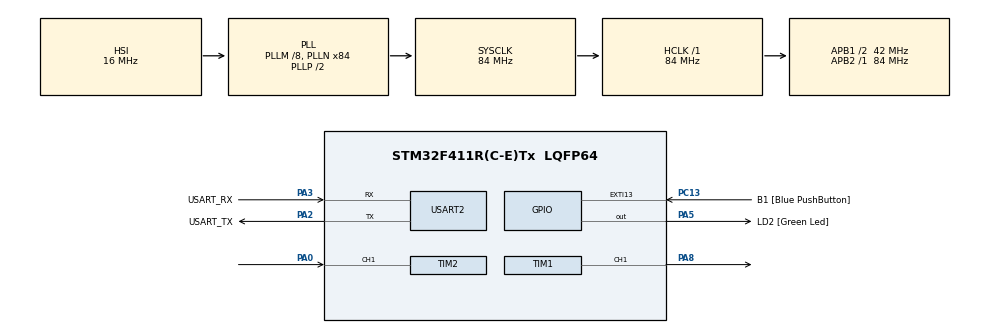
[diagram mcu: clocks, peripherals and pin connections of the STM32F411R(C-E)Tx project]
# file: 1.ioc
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Dma.Request0=TIM2_CH1
Dma.TIM2_CH1.0.Direction=DMA_PERIPH_TO_MEMORY
Dma.TIM2_CH1.0.FIFOMode=DMA_FIFOMODE_DISABLE
Dma.TIM2_CH1.0.Instance=DMA1_Stream5
Dma.TIM2_CH1.0.MemDataAlignment=DMA_MDATAALIGN_WORD
Dma.TIM2_CH1.0.MemInc=DMA_MINC_ENABLE
Dma.TIM2_CH1.0.Mode=DMA_CIRCULAR
Dma.TIM2_CH1.0.PeriphDataAlignment=DMA_PDATAALIGN_WORD
Dma.TIM2_CH1.0.PeriphInc=DMA_PINC_DISABLE
Dma.TIM2_CH1.0.Priority=DMA_PRIORITY_LOW
Mcu.Family=STM32F4
Mcu.Name=STM32F411R(C-E)Tx
Mcu.Package=LQFP64
NVIC.DMA1_Stream5_IRQn=true\:0\:0\:false\:false\:true\:false\:true
NVIC.PriorityGroup=NVIC_PRIORITYGROUP_0
PA0-WKUP.Signal=S_TIM2_CH1_ETR
PA13.GPIO_Label=TMS
PA13.Mode=Serial_Wire
PA13.Signal=SYS_JTMS-SWDIO
PA14.GPIO_Label=TCK
PA14.Mode=Serial_Wire
PA14.Signal=SYS_JTCK-SWCLK
PA2.GPIO_Label=USART_TX
PA2.Mode=Asynchronous
PA2.Signal=USART2_TX
PA3.GPIO_Label=USART_RX
PA3.Mode=Asynchronous
PA3.Signal=USART2_RX
PA5.GPIO_Label=LD2 [Green Led]
PA5.Signal=GPIO_Output
PA8.Signal=S_TIM1_CH1
PB3.GPIO_Label=SWO
PB3.Signal=SYS_JTDO-SWO
PC13-ANTI_TAMP.GPIO_Label=B1 [Blue PushButton]
PC13-ANTI_TAMP.GPIO_ModeDefaultEXTI=GPIO_MODE_IT_FALLING
PC13-ANTI_TAMP.Signal=GPXTI13
PC14-OSC32_IN.Mode=LSE-External-Oscillator
PC14-OSC32_IN.Signal=RCC_OSC32_IN
PC15-OSC32_OUT.Mode=LSE-External-Oscillator
PC15-OSC32_OUT.Signal=RCC_OSC32_OUT
PH0\ -\ OSC_IN.Mode=HSE-External-Clock-Source
PH0\ -\ OSC_IN.Signal=RCC_OSC_IN
PH1\ -\ OSC_OUT.Mode=HSE-External-Clock-Source
PH1\ -\ OSC_OUT.Signal=RCC_OSC_OUT
ProjectManager.HeapSize=0x200
ProjectManager.StackSize=0x400
ProjectManager.TargetToolchain=STM32CubeIDE
RCC.48MHZClocksFreq_Value=42000000
RCC.AHBFreq_Value=84000000
RCC.APB1CLKDivider=RCC_HCLK_DIV2
RCC.APB1Freq_Value=42000000
RCC.APB1TimFreq_Value=84000000
RCC.APB2Freq_Value=84000000
RCC.APB2TimFreq_Value=84000000
RCC.CortexFreq_Value=84000000
RCC.FLatency-AdvancedSettings=FLASH_LATENCY_2
RCC.HCLKFreq_Value=84000000
RCC.HSE_VALUE=8000000
RCC.HSI_VALUE=16000000
RCC.PLLM=8
RCC.PLLN=84
RCC.SYSCLKFreq_VALUE=84000000
RCC.SYSCLKSource=RCC_SYSCLKSOURCE_PLLCLK
RCC.VCOOutputFreq_Value=168000000
SH.S_TIM1_CH1.0=TIM1_CH1,PWM Generation1 CH1
SH.S_TIM2_CH1_ETR.0=TIM2_CH1,Input_Capture1_from_TI1
TIM1.Channel-PWM\ Generation1\ CH1=TIM_CHANNEL_1
TIM1.Period=999
TIM1.Prescaler=83
TIM1.Pulse-PWM\ Generation1\ CH1=500
TIM2.Channel-Input_Capture1_from_TI1=TIM_CHANNEL_1
TIM2.Prescaler=83
USART2.VirtualMode=VM_ASYNC
VP_TIM1_VS_ClockSourceINT.Mode=Internal
VP_TIM2_VS_ClockSourceINT.Mode=Internal
board=NUCLEO-F411RE

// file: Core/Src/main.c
/* USER CODE BEGIN Header */
/**
 ******************************************************************************
 * @file           : main.c
 * @brief          : Main program body
 ******************************************************************************
 * @attention
 *
 * <h2><center>&copy; Copyright (c) 2023 STMicroelectronics.
 * All rights reserved.</center></h2>
 *
 * This software component is licensed by ST under BSD 3-Clause license,
 * the "License"; You may not use this file except in compliance with the
 * License. You may obtain a copy of the License at:
 *                        opensource.org/licenses/BSD-3-Clause
 *
 ******************************************************************************
 */
/* USER CODE END Header */
#include "main.h"

/* USER CODE BEGIN Includes */
#define IC_BUFFER_SIZE 20
/* USER CODE END Includes */

TIM_HandleTypeDef htim1;
TIM_HandleTypeDef htim2;
DMA_HandleTypeDef hdma_tim2_ch1;

UART_HandleTypeDef huart2;

/* USER CODE BEGIN PV */
uint32_t InputCaptureBuffer[IC_BUFFER_SIZE];
float averageRisingedgePeriod;
float motor_rpm;
float duty = 0;
uint16_t MotorSetRPM;
int MotorControlEnable;
float set=0.0001;
/* USER CODE END PV */

void SystemClock_Config(void);
static void MX_GPIO_Init(void);
static void MX_USART2_UART_Init(void);
static void MX_DMA_Init(void);
static void MX_TIM2_Init(void);
static void MX_TIM1_Init(void);
/* USER CODE BEGIN PFP */
float IC_Calc_Period();
float RPM_Unit();
void motor_control();
/* USER CODE END PFP */

int main(void) {

	/* MCU Configuration--------------------------------------------------------*/

	/* Reset of all peripherals, Initializes the Flash interface and the Systick. */
	HAL_Init();

	/* Configure the system clock */
	SystemClock_Config();

	/* Initialize all configured peripherals */
	MX_GPIO_Init();
	MX_USART2_UART_Init();
	MX_DMA_Init();
	MX_TIM2_Init();
	MX_TIM1_Init();
	/* USER CODE BEGIN 2 */
	HAL_TIM_Base_Start(&htim2);
	HAL_TIM_IC_Start_DMA(&htim2, TIM_CHANNEL_1, InputCaptureBuffer,
			IC_BUFFER_SIZE);
	HAL_TIM_Base_Start(&htim1);
	HAL_TIM_PWM_Start(&htim1, TIM_CHANNEL_1);

	/* USER CODE END 2 */

	/* Infinite loop */
	/* USER CODE BEGIN WHILE */
	__HAL_TIM_SET_COMPARE(&htim1, TIM_CHANNEL_1, 0);
	duty = 0;
	motor_rpm = 0;
	averageRisingedgePeriod = 0;
	while (1) {
		/* USER CODE END WHILE */

		/* USER CODE BEGIN 3 */
		//+- 1 rpm
		if (MotorControlEnable == 1) {
			motor_control();
			if (duty > 100) duty=100;
			if (duty < 0) duty = 0;
			averageRisingedgePeriod = IC_Calc_Period();
			RPM_Unit();
			__HAL_TIM_SET_COMPARE(&htim1, TIM_CHANNEL_1, duty * 10);
		}
		if (MotorControlEnable == 0) {
			static uint32_t timestamp = 0;
			if (HAL_GetTick() >= timestamp) {
				timestamp = HAL_GetTick() + 500;
				averageRisingedgePeriod = IC_Calc_Period();
				RPM_Unit();
				__HAL_TIM_SET_COMPARE(&htim1, TIM_CHANNEL_1, duty * 10);
			}
		}

	}
	/* USER CODE END 3 */
}

void SystemClock_Config(void) {
	RCC_OscInitTypeDef RCC_OscInitStruct = { 0 };
	RCC_ClkInitTypeDef RCC_ClkInitStruct = { 0 };

	/** Configure the main internal regulator output voltage
	 */
	__HAL_RCC_PWR_CLK_ENABLE();
	__HAL_PWR_VOLTAGESCALING_CONFIG(PWR_REGULATOR_VOLTAGE_SCALE1);
	/** Initializes the RCC Oscillators according to the specified parameters
	 * in the RCC_OscInitTypeDef structure.
	 */
	RCC_OscInitStruct.OscillatorType = RCC_OSCILLATORTYPE_HSI;
	RCC_OscInitStruct.HSIState = RCC_HSI_ON;
	RCC_OscInitStruct.HSICalibrationValue = RCC_HSICALIBRATION_DEFAULT;
	RCC_OscInitStruct.PLL.PLLState = RCC_PLL_ON;
	RCC_OscInitStruct.PLL.PLLSource = RCC_PLLSOURCE_HSI;
	RCC_OscInitStruct.PLL.PLLM = 8;
	RCC_OscInitStruct.PLL.PLLN = 84;
	RCC_OscInitStruct.PLL.PLLP = RCC_PLLP_DIV2;
	RCC_OscInitStruct.PLL.PLLQ = 4;
	if (HAL_RCC_OscConfig(&RCC_OscInitStruct) != HAL_OK) {
		Error_Handler();
	}
	/** Initializes the CPU, AHB and APB buses clocks
	 */
	RCC_ClkInitStruct.ClockType = RCC_CLOCKTYPE_HCLK | RCC_CLOCKTYPE_SYSCLK
			| RCC_CLOCKTYPE_PCLK1 | RCC_CLOCKTYPE_PCLK2;
	RCC_ClkInitStruct.SYSCLKSource = RCC_SYSCLKSOURCE_PLLCLK;
	RCC_ClkInitStruct.AHBCLKDivider = RCC_SYSCLK_DIV1;
	RCC_ClkInitStruct.APB1CLKDivider = RCC_HCLK_DIV2;
	RCC_ClkInitStruct.APB2CLKDivider = RCC_HCLK_DIV1;

	if (HAL_RCC_ClockConfig(&RCC_ClkInitStruct, FLASH_LATENCY_2) != HAL_OK) {
		Error_Handler();
	}
}

static void MX_TIM1_Init(void) {

	TIM_ClockConfigTypeDef sClockSourceConfig = { 0 };
	TIM_MasterConfigTypeDef sMasterConfig = { 0 };
	TIM_OC_InitTypeDef sConfigOC = { 0 };
	TIM_BreakDeadTimeConfigTypeDef sBreakDeadTimeConfig = { 0 };

	htim1.Instance = TIM1;
	htim1.Init.Prescaler = 83;
	htim1.Init.CounterMode = TIM_COUNTERMODE_UP;
	htim1.Init.Period = 999;
	htim1.Init.ClockDivision = TIM_CLOCKDIVISION_DIV1;
	htim1.Init.RepetitionCounter = 0;
	htim1.Init.AutoReloadPreload = TIM_AUTORELOAD_PRELOAD_DISABLE;
	if (HAL_TIM_Base_Init(&htim1) != HAL_OK) {
		Error_Handler();
	}
	sClockSourceConfig.ClockSource = TIM_CLOCKSOURCE_INTERNAL;
	if (HAL_TIM_ConfigClockSource(&htim1, &sClockSourceConfig) != HAL_OK) {
		Error_Handler();
	}
	if (HAL_TIM_PWM_Init(&htim1) != HAL_OK) {
		Error_Handler();
	}
	sMasterConfig.MasterOutputTrigger = TIM_TRGO_RESET;
	sMasterConfig.MasterSlaveMode = TIM_MASTERSLAVEMODE_DISABLE;
	if (HAL_TIMEx_MasterConfigSynchronization(&htim1, &sMasterConfig)
			!= HAL_OK) {
		Error_Handler();
	}
	sConfigOC.OCMode = TIM_OCMODE_PWM1;
	sConfigOC.Pulse = 500;
	sConfigOC.OCPolarity = TIM_OCPOLARITY_HIGH;
	sConfigOC.OCNPolarity = TIM_OCNPOLARITY_HIGH;
	sConfigOC.OCFastMode = TIM_OCFAST_DISABLE;
	sConfigOC.OCIdleState = TIM_OCIDLESTATE_RESET;
	sConfigOC.OCNIdleState = TIM_OCNIDLESTATE_RESET;
	if (HAL_TIM_PWM_ConfigChannel(&htim1, &sConfigOC, TIM_CHANNEL_1)
			!= HAL_OK) {
		Error_Handler();
	}
	sBreakDeadTimeConfig.OffStateRunMode = TIM_OSSR_DISABLE;
	sBreakDeadTimeConfig.OffStateIDLEMode = TIM_OSSI_DISABLE;
	sBreakDeadTimeConfig.LockLevel = TIM_LOCKLEVEL_OFF;
	sBreakDeadTimeConfig.DeadTime = 0;
	sBreakDeadTimeConfig.BreakState = TIM_BREAK_DISABLE;
	sBreakDeadTimeConfig.BreakPolarity = TIM_BREAKPOLARITY_HIGH;
	sBreakDeadTimeConfig.AutomaticOutput = TIM_AUTOMATICOUTPUT_DISABLE;
	if (HAL_TIMEx_ConfigBreakDeadTime(&htim1, &sBreakDeadTimeConfig)
			!= HAL_OK) {
		Error_Handler();
	}
	HAL_TIM_MspPostInit(&htim1);

}

static void MX_TIM2_Init(void) {

	TIM_ClockConfigTypeDef sClockSourceConfig = { 0 };
	TIM_MasterConfigTypeDef sMasterConfig = { 0 };
	TIM_IC_InitTypeDef sConfigIC = { 0 };

	htim2.Instance = TIM2;
	htim2.Init.Prescaler = 83;
	htim2.Init.CounterMode = TIM_COUNTERMODE_UP;
	htim2.Init.Period = 4294967295;
	htim2.Init.ClockDivision = TIM_CLOCKDIVISION_DIV1;
	htim2.Init.AutoReloadPreload = TIM_AUTORELOAD_PRELOAD_DISABLE;
	if (HAL_TIM_Base_Init(&htim2) != HAL_OK) {
		Error_Handler();
	}
	sClockSourceConfig.ClockSource = TIM_CLOCKSOURCE_INTERNAL;
	if (HAL_TIM_ConfigClockSource(&htim2, &sClockSourceConfig) != HAL_OK) {
		Error_Handler();
	}
	if (HAL_TIM_IC_Init(&htim2) != HAL_OK) {
		Error_Handler();
	}
	sMasterConfig.MasterOutputTrigger = TIM_TRGO_RESET;
	sMasterConfig.MasterSlaveMode = TIM_MASTERSLAVEMODE_DISABLE;
	if (HAL_TIMEx_MasterConfigSynchronization(&htim2, &sMasterConfig)
			!= HAL_OK) {
		Error_Handler();
	}
	sConfigIC.ICPolarity = TIM_INPUTCHANNELPOLARITY_RISING;
	sConfigIC.ICSelection = TIM_ICSELECTION_DIRECTTI;
	sConfigIC.ICPrescaler = TIM_ICPSC_DIV1;
	sConfigIC.ICFilter = 0;
	if (HAL_TIM_IC_ConfigChannel(&htim2, &sConfigIC, TIM_CHANNEL_1) != HAL_OK) {
		Error_Handler();
	}

}

static void MX_USART2_UART_Init(void) {

	huart2.Instance = USART2;
	huart2.Init.BaudRate = 115200;
	huart2.Init.WordLength = UART_WORDLENGTH_8B;
	huart2.Init.StopBits = UART_STOPBITS_1;
	huart2.Init.Parity = UART_PARITY_NONE;
	huart2.Init.Mode = UART_MODE_TX_RX;
	huart2.Init.HwFlowCtl = UART_HWCONTROL_NONE;
	huart2.Init.OverSampling = UART_OVERSAMPLING_16;
	if (HAL_UART_Init(&huart2) != HAL_OK) {
		Error_Handler();
	}

}

static void MX_DMA_Init(void) {

	/* DMA controller clock enable */
	__HAL_RCC_DMA1_CLK_ENABLE();

	/* DMA interrupt init */
	/* DMA1_Stream5_IRQn interrupt configuration */
	HAL_NVIC_SetPriority(DMA1_Stream5_IRQn, 0, 0);
	HAL_NVIC_EnableIRQ(DMA1_Stream5_IRQn);

}

static void MX_GPIO_Init(void) {
	GPIO_InitTypeDef GPIO_InitStruct = { 0 };

	/* GPIO Ports Clock Enable */
	__HAL_RCC_GPIOC_CLK_ENABLE();
	__HAL_RCC_GPIOH_CLK_ENABLE();
	__HAL_RCC_GPIOA_CLK_ENABLE();
	__HAL_RCC_GPIOB_CLK_ENABLE();

	/*Configure GPIO pin Output Level */
	HAL_GPIO_WritePin(LD2_GPIO_Port, LD2_Pin, GPIO_PIN_RESET);

	/*Configure GPIO pin : B1_Pin */
	GPIO_InitStruct.Pin = B1_Pin;
	GPIO_InitStruct.Mode = GPIO_MODE_IT_FALLING;
	GPIO_InitStruct.Pull = GPIO_NOPULL;
	HAL_GPIO_Init(B1_GPIO_Port, &GPIO_InitStruct);

	/*Configure GPIO pin : LD2_Pin */
	GPIO_InitStruct.Pin = LD2_Pin;
	GPIO_InitStruct.Mode = GPIO_MODE_OUTPUT_PP;
	GPIO_InitStruct.Pull = GPIO_NOPULL;
	GPIO_InitStruct.Speed = GPIO_SPEED_FREQ_LOW;
	HAL_GPIO_Init(LD2_GPIO_Port, &GPIO_InitStruct);

}

/* USER CODE BEGIN 4 */
float IC_Calc_Period() {
	uint32_t currentDMAPointer = IC_BUFFER_SIZE
			- __HAL_DMA_GET_COUNTER((htim2.hdma[1]));

	uint32_t lastVaildDMAPointer = (currentDMAPointer - 1 + IC_BUFFER_SIZE)
			% IC_BUFFER_SIZE;

	uint32_t i = (lastVaildDMAPointer + IC_BUFFER_SIZE - 6) % IC_BUFFER_SIZE;

	int32_t sumdiff = 0;
	while (i != lastVaildDMAPointer) {
		uint32_t firstCapture = InputCaptureBuffer[i];

		uint32_t NextCapture = InputCaptureBuffer[(i + 1) % IC_BUFFER_SIZE];
		sumdiff += NextCapture - firstCapture;
		i = (i + 1) % IC_BUFFER_SIZE;
	}
	return sumdiff / 5.0;
}

float RPM_Unit() {
	motor_rpm = (60 * 1000000) / (12 * averageRisingedgePeriod * 64);
}

void motor_control() //10
{
	if ( motor_rpm >= MotorSetRPM) {
		duty -=set;
	}

	else if ( motor_rpm < MotorSetRPM){
		duty +=set;
	}
}

//	if ((MotorSetRPM >= (motor_rpm + (motor_rpm*0.01))) && (MotorSetRPM <= (motor_rpm - (motor_rpm*0.01)))){
//		n_duty =1;
//		RPM_Unit();
//	}
//
//	else {
//		duty+=2;
//		n_duty =0;
//		RPM_Unit();

/* USER CODE END 4 */

void Error_Handler(void) {
	__disable_irq();
	while (1) {
	}
}

/************************ (C) COPYRIGHT STMicroelectronics *****END OF FILE****/
